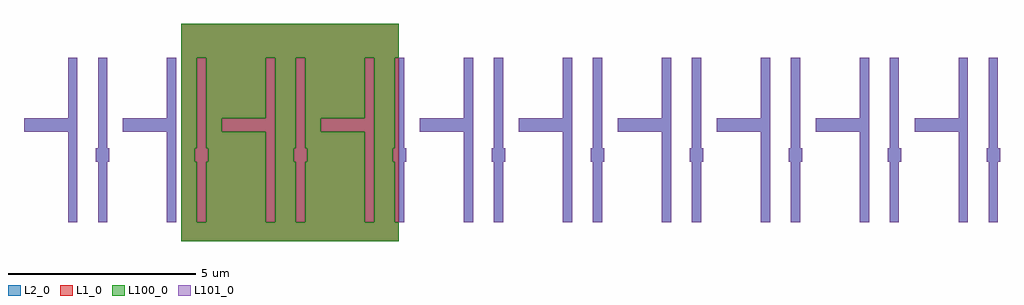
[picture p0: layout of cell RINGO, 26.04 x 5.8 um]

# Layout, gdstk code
import gdstk
lib = gdstk.Library(unit=1e-6, precision=1e-09)
def R(c, l, rs):  # rectangles x0, y0, x1, y1
    for r in rs: c.add(gdstk.rectangle(r[:2], r[2:], *l))
def A(c, l, x, y, w, h, nx, ny, dx, dy):  # array of equal rectangles
    R(c, l, [(x+i*dx, y+j*dy, x+i*dx+w, y+j*dy+h) for i in range(nx) for j in range(ny)])
def P(c, l, *ps):  # polygons
    for p in ps: c.add(gdstk.Polygon(p, *l))
L1_0 = (1, 0)
L2_0 = (2, 0)
L100_0 = (100, 0)
L101_0 = (101, 0)

trans = lib.new_cell('TRANS')
R(trans, L2_0, [(-0.125,-0.8,0.125,0.8)])

inv2 = lib.new_cell('INV2')
R(inv2, L2_0, [(-0.525,-0.25,-0.275,2.25), (0.275,-0.25,0.525,2.25), (0.22,0.82,0.58,1.18), (-1.7,1.62,-0.4,1.98)])
inv2.add(gdstk.Reference(trans, (-0.4,0)))
inv2.add(gdstk.Reference(trans, (-0.4,2.8)))
inv2.add(gdstk.Reference(trans, (0.4,0), x_reflection=True))
inv2.add(gdstk.Reference(trans, (0.4,2.8), x_reflection=True))

ringo = lib.new_cell('RINGO')
R(ringo, L1_0, [(2.5,-1.3,8.3,4.5)])
R(ringo, L100_0, [(5.5,1.18,5.555,3.6), (3.58,1.98,4.755,3.6), (2.5,3.6,5.5,4.5)])
P(ringo, L100_0, [(2.5,-1.3),(2.5,3.6),(2.915,3.6),(2.915,1.18),(2.86,1.18),(2.86,0.82),(2.915,0.82),(2.915,-0.8),(3.165,-0.8),(3.165,0.82),(3.22,0.82),(3.22,1.18),(3.165,1.18),(3.165,3.6),(3.58,3.6),(3.58,-1.3)],
  [(7.395,-1.3),(7.395,-0.8),(7.645,-0.8),(7.645,1.62),(8.195,1.62),(8.195,1.18),(8.14,1.18),(8.14,0.82),(8.195,0.82),(8.195,-0.8),(8.3,-0.8),(8.3,-1.3)],
  [(5.5,-1.3),(5.5,0.82),(5.555,0.82),(5.555,-0.8),(5.805,-0.8),(5.805,0.82),(5.86,0.82),(5.86,1.18),(5.805,1.18),(5.805,1.62),(7.395,1.62),(7.395,-1.3)],
  [(5.805,1.62),(5.805,3.6),(7.395,3.6),(7.395,1.98),(6.22,1.98),(6.22,1.62)],
  [(3.58,-1.3),(3.58,1.62),(4.755,1.62),(4.755,-0.8),(5.005,-0.8),(5.005,3.6),(5.5,3.6),(5.5,-1.3)],
  [(7.645,1.62),(7.645,3.6),(5.5,3.6),(5.5,4.5),(8.3,4.5),(8.3,3.6),(8.195,3.6),(8.195,1.62)])
A(ringo, L101_0, 10.035, -0.8, 0.25, 2.42, 6, 1, 2.64, 0)
A(ringo, L101_0, 8.86, 1.62, 1.425, 0.36, 6, 1, 2.64, 0)
A(ringo, L101_0, 10.035, 1.98, 0.25, 1.62, 6, 1, 2.64, 0)
R(ringo, L101_0, [(-0.525,-0.8,-0.275,1.62), (2.115,-0.8,2.22,0.8), (2.22,-0.8,2.365,0.8), (2.115,-0.25,2.365,2.25), (-1.7,1.62,-0.275,1.98), (0.94,1.62,2.24,1.98), (-0.525,1.98,-0.275,3.6), (2.115,2,2.22,3.6), (2.22,2,2.365,3.6)])
P(ringo, L101_0, [(0.275,-0.8),(0.275,0.82),(0.22,0.82),(0.22,1.18),(0.275,1.18),(0.275,3.6),(0.38,3.6),(0.38,-0.8)],
  [(10.835,-0.8),(10.835,0.82),(10.78,0.82),(10.78,1.18),(10.835,1.18),(10.835,3.6),(10.94,3.6),(10.94,-0.8)],
  [(13.475,-0.8),(13.475,0.82),(13.42,0.82),(13.42,1.18),(13.475,1.18),(13.475,3.6),(13.58,3.6),(13.58,-0.8)],
  [(16.115,-0.8),(16.115,0.82),(16.06,0.82),(16.06,1.18),(16.115,1.18),(16.115,3.6),(16.22,3.6),(16.22,-0.8)],
  [(18.755,-0.8),(18.755,0.82),(18.7,0.82),(18.7,1.18),(18.755,1.18),(18.755,3.6),(18.86,3.6),(18.86,-0.8)],
  [(21.395,-0.8),(21.395,0.82),(21.34,0.82),(21.34,1.18),(21.395,1.18),(21.395,3.6),(21.5,3.6),(21.5,-0.8)],
  [(24.035,-0.8),(24.035,0.82),(23.98,0.82),(23.98,1.18),(24.035,1.18),(24.035,3.6),(24.14,3.6),(24.14,-0.8)],
  [(0.38,-0.8),(0.38,3.6),(0.525,3.6),(0.525,1.18),(0.58,1.18),(0.58,0.82),(0.525,0.82),(0.525,-0.8)],
  [(8.3,-0.8),(8.3,3.6),(8.445,3.6),(8.445,1.18),(8.5,1.18),(8.5,0.82),(8.445,0.82),(8.445,-0.8)],
  [(10.94,-0.8),(10.94,3.6),(11.085,3.6),(11.085,1.18),(11.14,1.18),(11.14,0.82),(11.085,0.82),(11.085,-0.8)],
  [(13.58,-0.8),(13.58,3.6),(13.725,3.6),(13.725,1.18),(13.78,1.18),(13.78,0.82),(13.725,0.82),(13.725,-0.8)],
  [(16.22,-0.8),(16.22,3.6),(16.365,3.6),(16.365,1.18),(16.42,1.18),(16.42,0.82),(16.365,0.82),(16.365,-0.8)],
  [(18.86,-0.8),(18.86,3.6),(19.005,3.6),(19.005,1.18),(19.06,1.18),(19.06,0.82),(19.005,0.82),(19.005,-0.8)],
  [(21.5,-0.8),(21.5,3.6),(21.645,3.6),(21.645,1.18),(21.7,1.18),(21.7,0.82),(21.645,0.82),(21.645,-0.8)],
  [(24.14,-0.8),(24.14,3.6),(24.285,3.6),(24.285,1.18),(24.34,1.18),(24.34,0.82),(24.285,0.82),(24.285,-0.8)])
ringo.add(gdstk.Reference(inv2, (0,0)))
ringo.add(gdstk.Reference(inv2, (2.64,0)))
ringo.add(gdstk.Reference(inv2, (5.28,0)))
ringo.add(gdstk.Reference(inv2, (7.92,0)))
ringo.add(gdstk.Reference(inv2, (10.56,0)))
ringo.add(gdstk.Reference(inv2, (13.2,0)))
ringo.add(gdstk.Reference(inv2, (15.84,0)))
ringo.add(gdstk.Reference(inv2, (18.48,0)))
ringo.add(gdstk.Reference(inv2, (21.12,0)))
ringo.add(gdstk.Reference(inv2, (23.76,0)))

lib.write_gds('RINGO.gds')
